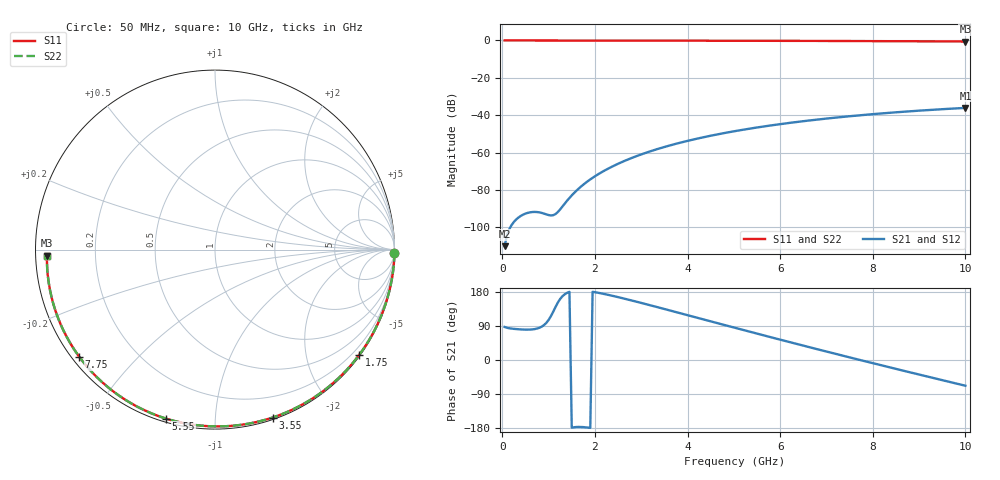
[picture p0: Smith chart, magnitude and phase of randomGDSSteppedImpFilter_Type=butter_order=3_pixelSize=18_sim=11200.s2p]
! freq	dB(S11)	phase(S11)	dB(S12)	phase(S12)
!  dB(S21)	phase(S21)	dB(S22)	phase(S22)
!S-par simulation data
#  GHz  S  DB  R 50
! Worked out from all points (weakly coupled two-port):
!   200 points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, 50 MHz to 10 GHz, reference 50 ohm
!   highest |S21| = -36.08 dB at 10 GHz (marker M1); lowest = -110.0 dB at 50 MHz (marker M2)
!   lowest |S11| = -0.6 dB at 10 GHz (marker M3), VSWR 30.88, Z = 1.62 - j0.913 ohm
!   |S11| at or under -10 dB: nowhere
!   |S22| runs from -0.6 to 0.0 dB; largest |S21 - S12| = 0
!   S11 on the Smith chart (normalised r, x): 50 MHz: open; 1.75 GHz: 0.03, -3.06; 3.55 GHz: 0.02, -1.40; 5.55 GHz: 0.02, -0.75; 7.75 GHz: 0.02, -0.35; 10 GHz: 0.03, -0.02
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0.05  -0.00 -1.1  -110.01 87.2  -110.01 87.2  -0.00 -1.1
0.4  -0.01 -8.4  -93.82 80.7  -93.82 80.7  -0.01 -8.4
0.8  -0.02 -16.8  -91.93 85.0  -91.93 85.0  -0.02 -16.8
1.2  -0.03 -25.0  -91.73 151.7  -91.73 151.7  -0.03 -25.0
1.6  -0.04 -33.2  -80.34 -176.8  -80.34 -176.8  -0.04 -33.2
1.75  -0.05 -36.2  -77.09 -177.1  -77.09 -177.1  -0.05 -36.2
1.9  -0.05 -39.2  -74.30 -179.1  -74.30 -179.1  -0.05 -39.2
2.05  -0.05 -42.2  -71.85 177.9  -71.85 177.9  -0.05 -42.2
2.25  -0.06 -46.2  -69.00 172.9  -69.00 172.9  -0.06 -46.2
2.45  -0.06 -50.1  -66.51 167.4  -66.51 167.4  -0.06 -50.1
2.9  -0.08 -58.8  -61.84 153.8  -61.84 153.8  -0.08 -58.8
3.4  -0.09 -68.3  -57.70 137.9  -57.70 137.9  -0.09 -68.3
3.55  -0.09 -71.0  -56.61 133.0  -56.61 133.0  -0.09 -71.0
4.3  -0.12 -84.6  -52.00 108.5  -52.00 108.5  -0.12 -84.6
5.05  -0.15 -97.7  -48.37 84.1  -48.37 84.1  -0.15 -97.7
5.55  -0.17 -106.2  -46.35 68.0  -46.35 68.0  -0.17 -106.2
6.1  -0.20 -115.3  -44.42 50.5  -44.42 50.5  -0.20 -115.3
6.7  -0.24 -125.0  -42.59 31.6  -42.59 31.6  -0.24 -125.0
7.75  -0.32 -141.7  -39.95 -0.8  -39.95 -0.8  -0.32 -141.7
8.35  -0.38 -151.2  -38.71 -18.9  -38.71 -18.9  -0.38 -151.2
9.2  -0.47 -164.8  -37.21 -44.3  -37.21 -44.3  -0.47 -164.8
10  -0.56 -177.9  -36.08 -67.9  -36.08 -67.9  -0.56 -177.9
